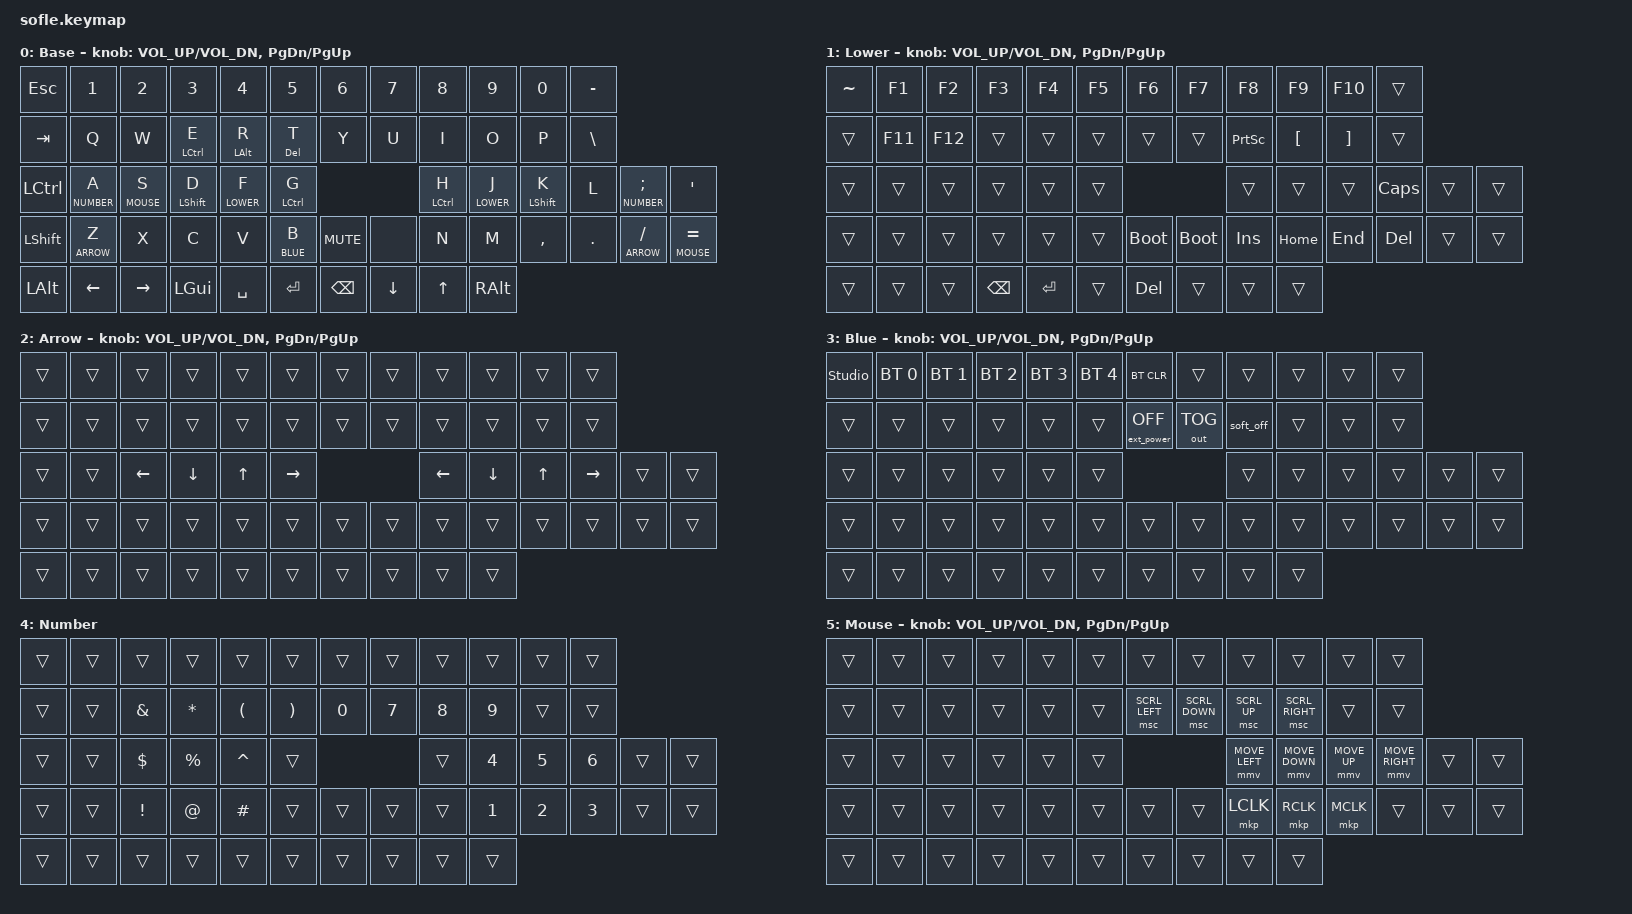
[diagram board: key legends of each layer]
/*
 * Copyright (c) 2020 The ZMK Contributors
 *
 * SPDX-License-Identifier: MIT
 */

#include <behaviors.dtsi>
#include <dt-bindings/zmk/bt.h>
#include <dt-bindings/zmk/keys.h>
#include <dt-bindings/zmk/outputs.h>
#include <dt-bindings/zmk/pointing.h>
#include <zmk-helpers/key-labels/sofle.h>  // replace with correct key-labels header
#include <dt-bindings/zmk/ext_power.h>


#define BASE 0
#define LOWER 1
#define ARROW 2
#define BLUE 3
#define NUMBER 4
#define MOUSE 5

#define KEYS_L LN5 LN4 LN3 LN2 LN1 LN0 LT5 LT4 LT3 LT2 LT1 LT0 LM5 LM4 LM3 LM2 LM1 LM0 LB5 LB4 LB3 LB2 LB1 LB0 LEC // left-hand keys
#define KEYS_R RN0 RN1 RN2 RN3 RN4 RN5 RT0 RT1 RT2 RT3 RT4 RT5 RM0 RM1 RM2 RM3 RM4 RM5 REC RB0 RB1 RB2 RB3 RB4 RB5 // right-hand keys
#define THUMBS LH4 LH3 LH2 LH1 LH0 RH0 RH1 RH2 RH3 RH4 // thumb keys

  /
  {
    hml: homerow_mods_left {
      compatible = "zmk,behavior-hold-tap";
      label = "HOMEROW_MODS_LEFT";
      #binding-cells = <2> ;
      bindings = <&kp>,<&kp> ;

      flavor = "balanced";
      tapping-term-ms = <280> ;
      quick-tap-ms = <175> ; // repeat on tap-into-hold
      // global-quick-tap-ms = <150>;         // requires PR #1387
      global-quick-tap;
      hold-trigger-key-positions = <KEYS_R THUMBS> ;
      hold-trigger-on-release;
    };

    hmr: homerow_mods_right {
      compatible = "zmk,behavior-hold-tap";
      label = "HOMEROW_MODS_RIGHT";
      #binding-cells = <2> ;
      bindings = <&kp>,<&kp> ;

      flavor = "balanced";
      tapping-term-ms = <280> ;
      // global-quick-tap-ms = <150>;         // requires PR #1387
      quick_tap_ms = <175> ;
      global-quick-tap;
      hold-trigger-key-positions = <KEYS_L THUMBS> ;
      hold-trigger-on-release;
    };

    keymap {
      compatible = "zmk,keymap";

      default_layer {
        display-name = "Base";
        bindings = <
          &kp ESC &kp NUMBER_1 &kp NUMBER_2 &kp NUMBER_3 &kp NUMBER_4 &kp NUMBER_5 &kp NUMBER_6 &kp NUMBER_7 &kp NUMBER_8 &kp NUMBER_9 &kp NUMBER_0 &kp MINUS
          &kp TAB &kp Q &kp W &hml LCTRL E &hml LALT R &hml DEL T &kp Y &kp U &kp I &kp O &kp P &kp BACKSLASH
          &kp LCTRL &lt NUMBER A &lt MOUSE S &hml LSHIFT D &lt LOWER F &hml LCTRL G &hmr LCTRL H &lt LOWER J &hmr LSHIFT K &kp L &lt NUMBER SEMI &kp SINGLE_QUOTE
          &kp LSHIFT &lt ARROW Z &kp X &kp C &kp V &lt BLUE B &kp C_MUTE &none &kp N &kp M &kp COMMA &kp DOT &lt ARROW FSLH &lt MOUSE EQUAL
          &kp LALT &kp LEFT &kp RIGHT &kp LGUI &kp SPACE &kp RET &kp BACKSPACE &kp DOWN &kp UP &kp RALT
		>;

        sensor-bindings = <&inc_dec_kp C_VOL_UP C_VOL_DN &inc_dec_kp PG_DN PG_UP>;
      };

      lower_layer {
        display-name = "Lower";
        bindings = <
          &kp TILDE &kp F1 &kp F2 &kp F3 &kp F4 &kp F5 &kp F6 &kp F7 &kp F8 &kp F9 &kp F10 &trans
          &trans &kp F11 &kp F12 &trans &trans &trans &trans &trans &kp PSCRN &kp LEFT_BRACKET &kp RIGHT_BRACKET &trans
          &trans &trans &trans &trans &trans &trans &trans &trans &trans &kp CAPSLOCK &trans &trans
          &trans &trans &trans &trans &trans &trans &bootloader &bootloader &kp INS &kp HOME &kp END &kp DEL &trans &trans
          &trans &trans &trans &kp BACKSPACE &kp ENTER &trans &kp DEL &trans &trans &trans
		>;
		
        sensor-bindings = <&inc_dec_kp C_VOL_UP C_VOL_DN &inc_dec_kp PG_DN PG_UP>;
      };

      arrow_layer {
        display-name = "Arrow";
        bindings = <
          &trans &trans &trans &trans &trans &trans &trans &trans &trans &trans &trans &trans
          &trans &trans &trans &trans &trans &trans &trans &trans &trans &trans &trans &trans
          &trans &trans &kp LEFT &kp DOWN &kp UP &kp RIGHT &kp LEFT &kp DOWN &kp UP &kp RIGHT &trans &trans
          &trans &trans &trans &trans &trans &trans &trans &trans &trans &trans &trans &trans &trans &trans
          &trans &trans &trans &trans &trans &trans &trans &trans &trans &trans
		>;

        sensor-bindings = <&inc_dec_kp C_VOL_UP C_VOL_DN &inc_dec_kp PG_DN PG_UP>;
      };

      bluetooth_layer {
        display-name = "Blue";
        bindings = <
          &studio_unlock &bt BT_SEL 0 &bt BT_SEL 1 &bt BT_SEL 2 &bt BT_SEL 3 &bt BT_SEL 4 &bt BT_CLR &trans &trans &trans &trans &trans
          &trans &trans &trans &trans &trans &trans &ext_power EP_OFF &out OUT_TOG &soft_off &trans &trans &trans
          &trans &trans &trans &trans &trans &trans &trans &trans &trans &trans &trans &trans
          &trans &trans &trans &trans &trans &trans &trans &trans &trans &trans &trans &trans &trans &trans
          &trans &trans &trans &trans &trans &trans &trans &trans &trans &trans
		>;

        sensor-bindings = <&inc_dec_kp C_VOL_UP C_VOL_DN &inc_dec_kp PG_DN PG_UP>;
      };

      Numbers {
        display-name = "Number";
        bindings = <
          &trans &trans &trans &trans &trans &trans &trans &trans &trans &trans &trans &trans
		  &trans &trans &kp AMPS &kp STAR &kp LPAR &kp RPAR &kp NUMBER_0 &kp NUMBER_7 &kp NUMBER_8 &kp NUMBER_9 &trans &trans
		  &trans &trans &kp DLLR &kp PRCNT &kp CARET &trans &trans &kp NUMBER_4 &kp NUMBER_5 &kp NUMBER_6 &trans &trans
          &trans &trans &kp EXCL &kp AT &kp POUND &trans &trans &trans &trans &kp NUMBER_1 &kp NUMBER_2 &kp NUMBER_3 &trans &trans
          &trans &trans &trans &trans &trans &trans &trans &trans &trans &trans
		>;
      };

      mouse_layer {
        display-name = "Mouse";
        bindings = <
          &trans &trans &trans &trans &trans &trans &trans &trans &trans &trans &trans &trans
          &trans &trans &trans &trans &trans &trans &msc SCRL_LEFT &msc SCRL_DOWN &msc SCRL_UP &msc SCRL_RIGHT &trans &trans
          &trans &trans &trans &trans &trans &trans &mmv MOVE_LEFT &mmv MOVE_DOWN &mmv MOVE_UP &mmv MOVE_RIGHT &trans &trans
          &trans &trans &trans &trans &trans &trans &trans &trans &mkp LCLK &mkp RCLK &mkp MCLK &trans &trans &trans
          &trans &trans &trans &trans &trans &trans &trans &trans &trans &trans
		>;

        sensor-bindings = <&inc_dec_kp C_VOL_UP C_VOL_DN &inc_dec_kp PG_DN PG_UP>;
      };
    };
  };
